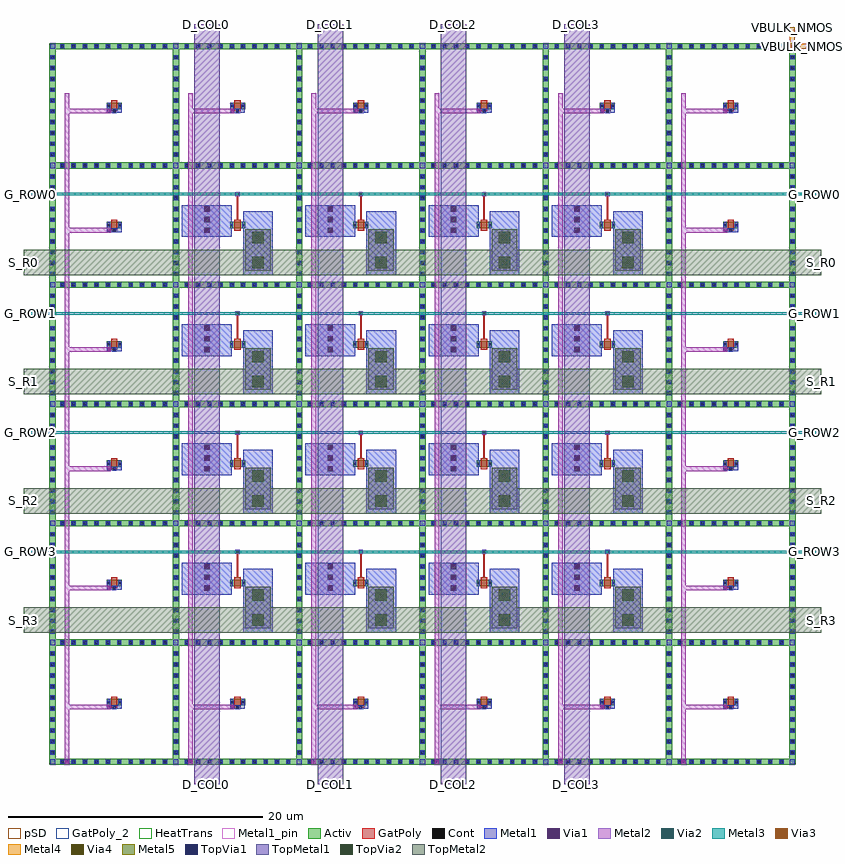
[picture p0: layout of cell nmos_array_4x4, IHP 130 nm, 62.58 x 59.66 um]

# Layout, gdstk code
import gdstk
lib = gdstk.Library(unit=1e-6, precision=1e-09)
def R(c, l, rs):  # rectangles x0, y0, x1, y1
    for r in rs: c.add(gdstk.rectangle(r[:2], r[2:], *l))
def A(c, l, x, y, w, h, nx, ny, dx, dy):  # array of equal rectangles
    R(c, l, [(x+i*dx, y+j*dy, x+i*dx+w, y+j*dy+h) for i in range(nx) for j in range(ny)])
Activ = (1, 0)
GatPoly = (5, 0)
GatPoly_2 = (5, 2)
Cont = (6, 0)
Metal1 = (8, 0)
Metal1_pin = (8, 2)
Metal2 = (10, 0)
pSD = (14, 0)
Via1 = (19, 0)
Via2 = (29, 0)
Metal3 = (30, 0)
Via3 = (49, 0)
Metal4 = (50, 0)
HeatTrans = (51, 0)
Via4 = (66, 0)
Metal5 = (67, 0)
TopVia1 = (125, 0)
TopMetal1 = (126, 0)
TopVia2 = (133, 0)
TopMetal2 = (134, 0)

nmos = lib.new_cell('nmos')
R(nmos, Activ, [(0,0,0.3,0.3), (0,0,1.18,0.5), (0.88,0,1.18,0.3)])
R(nmos, GatPoly, [(0.34,-0.18,0.84,0.68)])
R(nmos, GatPoly_2, [(0.34,-0.18,0.84,0.68)])
R(nmos, Cont, [(0.07,0.17,0.23,0.33), (0.95,0.17,1.11,0.33)])
R(nmos, Metal1, [(0.07,0,0.23,0.5), (0.95,0,1.11,0.5)])
R(nmos, Metal1_pin, [(0.07,0,0.23,0.5), (0.95,0,1.11,0.5)])
R(nmos, HeatTrans, [(0.34,-0.18,0.84,0.68)])
nmos.add(gdstk.Label('nmos', (0.59,0.25), layer=63, texttype=0))
nmos.add(gdstk.Label('nmos', (0.59,0.25), layer=51, texttype=0))

nmos_array_4x4 = lib.new_cell('nmos_array_4x4')
A(nmos_array_4x4, Activ, 0, 0, 0.5, 56.66, 7, 1, 9.68, 0)
A(nmos_array_4x4, Activ, 0, 0, 58.58, 0.5, 1, 7, 0, 9.36)
A(nmos_array_4x4, GatPoly, 5.025, 4.53, 0.13, 0.2, 6, 2, 9.68, 46.8)
A(nmos_array_4x4, GatPoly, 5.025, 13.89, 0.13, 0.2, 1, 4, 0, 9.36)
A(nmos_array_4x4, GatPoly, 53.425, 13.89, 0.13, 0.2, 1, 4, 0, 9.36)
A(nmos_array_4x4, GatPoly, 14.705, 14.72, 0.13, 2, 4, 4, 9.68, 9.36)
A(nmos_array_4x4, Cont, 0.896, 0.14, 0.22, 0.22, 10, 7, 0.896, 9.36)
A(nmos_array_4x4, Cont, 10.68, 0.14, 0.22, 0.22, 3, 7, 0.884, 9.36)
A(nmos_array_4x4, Cont, 13.333, 0.14, 0.22, 0.22, 1, 7, 0, 9.36)
A(nmos_array_4x4, Cont, 14.217, 0.14, 0.22, 0.22, 1, 7, 0, 9.36)
A(nmos_array_4x4, Cont, 15.102, 0.14, 0.22, 0.22, 1, 7, 0, 9.36)
A(nmos_array_4x4, Cont, 15.986, 0.14, 0.22, 0.22, 1, 7, 0, 9.36)
A(nmos_array_4x4, Cont, 16.871, 0.14, 0.22, 0.22, 1, 7, 0, 9.36)
A(nmos_array_4x4, Cont, 17.755, 0.14, 0.22, 0.22, 1, 7, 0, 9.36)
A(nmos_array_4x4, Cont, 18.64, 0.14, 0.22, 0.22, 1, 7, 0, 9.36)
A(nmos_array_4x4, Cont, 20.36, 0.14, 0.22, 0.22, 3, 7, 0.884, 9.36)
A(nmos_array_4x4, Cont, 23.013, 0.14, 0.22, 0.22, 1, 7, 0, 9.36)
A(nmos_array_4x4, Cont, 23.897, 0.14, 0.22, 0.22, 1, 7, 0, 9.36)
A(nmos_array_4x4, Cont, 24.782, 0.14, 0.22, 0.22, 1, 7, 0, 9.36)
A(nmos_array_4x4, Cont, 25.666, 0.14, 0.22, 0.22, 1, 7, 0, 9.36)
A(nmos_array_4x4, Cont, 26.551, 0.14, 0.22, 0.22, 1, 7, 0, 9.36)
A(nmos_array_4x4, Cont, 27.435, 0.14, 0.22, 0.22, 1, 7, 0, 9.36)
A(nmos_array_4x4, Cont, 28.32, 0.14, 0.22, 0.22, 1, 7, 0, 9.36)
A(nmos_array_4x4, Cont, 30.04, 0.14, 0.22, 0.22, 3, 7, 0.884, 9.36)
A(nmos_array_4x4, Cont, 32.693, 0.14, 0.22, 0.22, 1, 7, 0, 9.36)
A(nmos_array_4x4, Cont, 33.577, 0.14, 0.22, 0.22, 1, 7, 0, 9.36)
A(nmos_array_4x4, Cont, 34.462, 0.14, 0.22, 0.22, 1, 7, 0, 9.36)
A(nmos_array_4x4, Cont, 35.346, 0.14, 0.22, 0.22, 1, 7, 0, 9.36)
A(nmos_array_4x4, Cont, 36.231, 0.14, 0.22, 0.22, 1, 7, 0, 9.36)
A(nmos_array_4x4, Cont, 37.115, 0.14, 0.22, 0.22, 1, 7, 0, 9.36)
A(nmos_array_4x4, Cont, 38, 0.14, 0.22, 0.22, 1, 7, 0, 9.36)
A(nmos_array_4x4, Cont, 39.72, 0.14, 0.22, 0.22, 3, 7, 0.884, 9.36)
A(nmos_array_4x4, Cont, 42.373, 0.14, 0.22, 0.22, 1, 7, 0, 9.36)
A(nmos_array_4x4, Cont, 43.257, 0.14, 0.22, 0.22, 1, 7, 0, 9.36)
A(nmos_array_4x4, Cont, 44.142, 0.14, 0.22, 0.22, 1, 7, 0, 9.36)
A(nmos_array_4x4, Cont, 45.026, 0.14, 0.22, 0.22, 1, 7, 0, 9.36)
A(nmos_array_4x4, Cont, 45.911, 0.14, 0.22, 0.22, 1, 7, 0, 9.36)
A(nmos_array_4x4, Cont, 46.795, 0.14, 0.22, 0.22, 1, 7, 0, 9.36)
A(nmos_array_4x4, Cont, 47.68, 0.14, 0.22, 0.22, 1, 7, 0, 9.36)
A(nmos_array_4x4, Cont, 49.4, 0.14, 0.22, 0.22, 3, 7, 0.884, 9.36)
A(nmos_array_4x4, Cont, 52.053, 0.14, 0.22, 0.22, 1, 7, 0, 9.36)
A(nmos_array_4x4, Cont, 52.937, 0.14, 0.22, 0.22, 1, 7, 0, 9.36)
A(nmos_array_4x4, Cont, 53.822, 0.14, 0.22, 0.22, 1, 7, 0, 9.36)
A(nmos_array_4x4, Cont, 54.706, 0.14, 0.22, 0.22, 1, 7, 0, 9.36)
A(nmos_array_4x4, Cont, 55.591, 0.14, 0.22, 0.22, 1, 7, 0, 9.36)
A(nmos_array_4x4, Cont, 56.475, 0.14, 0.22, 0.22, 1, 7, 0, 9.36)
A(nmos_array_4x4, Cont, 57.36, 0.14, 0.22, 0.22, 1, 7, 0, 9.36)
A(nmos_array_4x4, Cont, 0.14, 0.864, 0.22, 0.22, 7, 10, 9.68, 0.864)
A(nmos_array_4x4, Cont, 4.98, 4.42, 0.22, 0.22, 6, 2, 9.68, 46.8)
A(nmos_array_4x4, Cont, 0.14, 10.36, 0.22, 0.22, 7, 2, 9.68, 0.848)
A(nmos_array_4x4, Cont, 0.14, 12.057, 0.22, 0.22, 7, 8, 9.68, 0.849)
A(nmos_array_4x4, Cont, 4.98, 13.78, 0.22, 0.22, 1, 4, 0, 9.36)
A(nmos_array_4x4, Cont, 53.38, 13.78, 0.22, 0.22, 1, 4, 0, 9.36)
A(nmos_array_4x4, Cont, 14.66, 16.61, 0.22, 0.22, 4, 4, 9.68, 9.36)
A(nmos_array_4x4, Cont, 0.14, 19.72, 0.22, 0.22, 7, 2, 9.68, 0.848)
A(nmos_array_4x4, Cont, 0.14, 21.417, 0.22, 0.22, 7, 8, 9.68, 0.849)
A(nmos_array_4x4, Cont, 0.14, 29.08, 0.22, 0.22, 7, 2, 9.68, 0.848)
A(nmos_array_4x4, Cont, 0.14, 30.777, 0.22, 0.22, 7, 8, 9.68, 0.849)
A(nmos_array_4x4, Cont, 0.14, 38.44, 0.22, 0.22, 7, 2, 9.68, 0.848)
A(nmos_array_4x4, Cont, 0.14, 40.137, 0.22, 0.22, 7, 8, 9.68, 0.849)
A(nmos_array_4x4, Cont, 0.14, 47.8, 0.22, 0.22, 7, 2, 9.68, 0.848)
A(nmos_array_4x4, Cont, 0.14, 49.497, 0.22, 0.22, 7, 8, 9.68, 0.849)
A(nmos_array_4x4, Metal1, 0.836, 0.08, 0.34, 0.34, 10, 7, 0.896, 9.36)
A(nmos_array_4x4, Metal1, 10.62, 0.08, 0.34, 0.34, 3, 7, 0.884, 9.36)
A(nmos_array_4x4, Metal1, 13.273, 0.08, 0.34, 0.34, 1, 7, 0, 9.36)
A(nmos_array_4x4, Metal1, 14.157, 0.08, 0.34, 0.34, 1, 7, 0, 9.36)
A(nmos_array_4x4, Metal1, 15.042, 0.08, 0.34, 0.34, 1, 7, 0, 9.36)
A(nmos_array_4x4, Metal1, 15.926, 0.08, 0.34, 0.34, 1, 7, 0, 9.36)
A(nmos_array_4x4, Metal1, 16.811, 0.08, 0.34, 0.34, 1, 7, 0, 9.36)
A(nmos_array_4x4, Metal1, 17.695, 0.08, 0.34, 0.34, 1, 7, 0, 9.36)
A(nmos_array_4x4, Metal1, 18.58, 0.08, 0.34, 0.34, 1, 7, 0, 9.36)
A(nmos_array_4x4, Metal1, 20.3, 0.08, 0.34, 0.34, 3, 7, 0.884, 9.36)
A(nmos_array_4x4, Metal1, 22.953, 0.08, 0.34, 0.34, 1, 7, 0, 9.36)
A(nmos_array_4x4, Metal1, 23.837, 0.08, 0.34, 0.34, 1, 7, 0, 9.36)
A(nmos_array_4x4, Metal1, 24.722, 0.08, 0.34, 0.34, 1, 7, 0, 9.36)
A(nmos_array_4x4, Metal1, 25.606, 0.08, 0.34, 0.34, 1, 7, 0, 9.36)
A(nmos_array_4x4, Metal1, 26.491, 0.08, 0.34, 0.34, 1, 7, 0, 9.36)
A(nmos_array_4x4, Metal1, 27.375, 0.08, 0.34, 0.34, 1, 7, 0, 9.36)
A(nmos_array_4x4, Metal1, 28.26, 0.08, 0.34, 0.34, 1, 7, 0, 9.36)
A(nmos_array_4x4, Metal1, 29.98, 0.08, 0.34, 0.34, 3, 7, 0.884, 9.36)
A(nmos_array_4x4, Metal1, 32.633, 0.08, 0.34, 0.34, 1, 7, 0, 9.36)
A(nmos_array_4x4, Metal1, 33.517, 0.08, 0.34, 0.34, 1, 7, 0, 9.36)
A(nmos_array_4x4, Metal1, 34.402, 0.08, 0.34, 0.34, 1, 7, 0, 9.36)
A(nmos_array_4x4, Metal1, 35.286, 0.08, 0.34, 0.34, 1, 7, 0, 9.36)
A(nmos_array_4x4, Metal1, 36.171, 0.08, 0.34, 0.34, 1, 7, 0, 9.36)
A(nmos_array_4x4, Metal1, 37.055, 0.08, 0.34, 0.34, 1, 7, 0, 9.36)
A(nmos_array_4x4, Metal1, 37.94, 0.08, 0.34, 0.34, 1, 7, 0, 9.36)
A(nmos_array_4x4, Metal1, 39.66, 0.08, 0.34, 0.34, 3, 7, 0.884, 9.36)
A(nmos_array_4x4, Metal1, 42.313, 0.08, 0.34, 0.34, 1, 7, 0, 9.36)
A(nmos_array_4x4, Metal1, 43.197, 0.08, 0.34, 0.34, 1, 7, 0, 9.36)
A(nmos_array_4x4, Metal1, 44.082, 0.08, 0.34, 0.34, 1, 7, 0, 9.36)
A(nmos_array_4x4, Metal1, 44.966, 0.08, 0.34, 0.34, 1, 7, 0, 9.36)
A(nmos_array_4x4, Metal1, 45.851, 0.08, 0.34, 0.34, 1, 7, 0, 9.36)
A(nmos_array_4x4, Metal1, 46.735, 0.08, 0.34, 0.34, 1, 7, 0, 9.36)
A(nmos_array_4x4, Metal1, 47.62, 0.08, 0.34, 0.34, 1, 7, 0, 9.36)
A(nmos_array_4x4, Metal1, 49.34, 0.08, 0.34, 0.34, 3, 7, 0.884, 9.36)
A(nmos_array_4x4, Metal1, 51.993, 0.08, 0.34, 0.34, 1, 7, 0, 9.36)
A(nmos_array_4x4, Metal1, 52.877, 0.08, 0.34, 0.34, 1, 7, 0, 9.36)
A(nmos_array_4x4, Metal1, 53.762, 0.08, 0.34, 0.34, 1, 7, 0, 9.36)
A(nmos_array_4x4, Metal1, 54.646, 0.08, 0.34, 0.34, 1, 7, 0, 9.36)
A(nmos_array_4x4, Metal1, 55.531, 0.08, 0.34, 0.34, 1, 7, 0, 9.36)
A(nmos_array_4x4, Metal1, 56.415, 0.08, 0.34, 0.34, 1, 7, 0, 9.36)
A(nmos_array_4x4, Metal1, 57.3, 0.08, 0.34, 0.34, 1, 7, 0, 9.36)
A(nmos_array_4x4, Metal1, 0.08, 0.804, 0.34, 0.34, 7, 10, 9.68, 0.864)
A(nmos_array_4x4, Metal1, 4.92, 4.36, 0.34, 0.34, 6, 2, 9.68, 46.8)
A(nmos_array_4x4, Metal1, 4.51, 4.39, 0.28, 0.68, 1, 6, 0, 9.36)
A(nmos_array_4x4, Metal1, 4.51, 4.39, 1.16, 0.28, 6, 2, 9.68, 46.8)
A(nmos_array_4x4, Metal1, 5.39, 4.39, 0.28, 0.68, 1, 6, 0, 9.36)
A(nmos_array_4x4, Metal1, 52.91, 4.39, 0.28, 0.68, 1, 6, 0, 9.36)
A(nmos_array_4x4, Metal1, 53.79, 4.39, 0.28, 0.68, 1, 6, 0, 9.36)
A(nmos_array_4x4, Metal1, 0.05, 9.41, 0.4, 0.4, 7, 6, 9.68, 9.36)
A(nmos_array_4x4, Metal1, 0.08, 10.3, 0.34, 0.34, 7, 2, 9.68, 0.848)
A(nmos_array_4x4, Metal1, 15.21, 10.36, 2.32, 5.02, 4, 4, 9.68, 9.36)
A(nmos_array_4x4, Metal1, 0.08, 11.997, 0.34, 0.34, 7, 8, 9.68, 0.849)
A(nmos_array_4x4, Metal1, 10.41, 13.371, 3.92, 2.499, 4, 4, 9.68, 9.36)
A(nmos_array_4x4, Metal1, 4.92, 13.72, 0.34, 0.34, 1, 4, 0, 9.36)
A(nmos_array_4x4, Metal1, 53.32, 13.72, 0.34, 0.34, 1, 4, 0, 9.36)
A(nmos_array_4x4, Metal1, 4.51, 13.75, 1.16, 0.28, 1, 4, 0, 9.36)
A(nmos_array_4x4, Metal1, 52.91, 13.75, 1.16, 0.28, 1, 4, 0, 9.36)
A(nmos_array_4x4, Metal1, 14.61, 16.56, 0.32, 0.32, 4, 4, 9.68, 9.36)
A(nmos_array_4x4, Metal1, 0.08, 19.66, 0.34, 0.34, 7, 2, 9.68, 0.848)
A(nmos_array_4x4, Metal1, 0.08, 21.357, 0.34, 0.34, 7, 8, 9.68, 0.849)
A(nmos_array_4x4, Metal1, 0.08, 29.02, 0.34, 0.34, 7, 2, 9.68, 0.848)
A(nmos_array_4x4, Metal1, 0.08, 30.717, 0.34, 0.34, 7, 8, 9.68, 0.849)
A(nmos_array_4x4, Metal1, 0.08, 38.38, 0.34, 0.34, 7, 2, 9.68, 0.848)
A(nmos_array_4x4, Metal1, 0.08, 40.077, 0.34, 0.34, 7, 8, 9.68, 0.849)
A(nmos_array_4x4, Metal1, 0.08, 47.74, 0.34, 0.34, 7, 2, 9.68, 0.848)
A(nmos_array_4x4, Metal1, 0.08, 49.437, 0.34, 0.34, 7, 8, 9.68, 0.849)
R(nmos_array_4x4, Metal1, [(0.05,0.05,0.45,0.45), (1.19,0.05,1.59,0.45), (9.73,0.05,10.13,0.45), (10.87,0.05,11.27,0.45), (19.41,0.05,19.81,0.45), (20.55,0.05,20.95,0.45), (29.09,0.05,29.49,0.45), (30.23,0.05,30.63,0.45), (38.77,0.05,39.17,0.45), (39.91,0.05,40.31,0.45), (48.45,0.05,48.85,0.45), (49.59,0.05,49.99,0.45), (58.13,0.05,58.53,0.45), (14.19,4.39,14.47,5.07), (15.07,4.39,15.35,5.07), (23.87,4.39,24.15,5.07), (24.75,4.39,25.03,5.07), (33.55,4.39,33.83,5.07), (34.43,4.39,34.71,5.07), (43.23,4.39,43.51,5.07), (44.11,4.39,44.39,5.07), (14.19,51.19,14.47,51.87), (15.07,51.19,15.35,51.87), (23.87,51.19,24.15,51.87), (24.75,51.19,25.03,51.87), (33.55,51.19,33.83,51.87), (34.43,51.19,34.71,51.87), (43.23,51.19,43.51,51.87), (44.11,51.19,44.39,51.87)])
A(nmos_array_4x4, Metal2, 1.21, 0.07, 0.36, 52.66, 6, 1, 9.68, 0)
A(nmos_array_4x4, Metal2, 1.21, 4.35, 3.62, 0.36, 6, 2, 9.68, 46.8)
A(nmos_array_4x4, Metal2, 16.215, 11.205, 0.31, 0.31, 4, 2, 9.68, 1.96)
A(nmos_array_4x4, Metal2, 1.21, 13.71, 3.62, 0.36, 1, 4, 0, 9.36)
A(nmos_array_4x4, Metal2, 49.61, 13.71, 3.62, 0.36, 1, 4, 0, 9.36)
A(nmos_array_4x4, Metal2, 12.215, 13.735, 0.31, 0.31, 4, 3, 9.68, 0.84)
A(nmos_array_4x4, Metal2, 14.625, 16.575, 0.29, 0.29, 4, 4, 9.68, 9.36)
A(nmos_array_4x4, Metal2, 16.215, 20.565, 0.31, 0.31, 4, 2, 9.68, 1.96)
A(nmos_array_4x4, Metal2, 12.215, 23.095, 0.31, 0.31, 4, 3, 9.68, 0.84)
A(nmos_array_4x4, Metal2, 16.215, 29.925, 0.31, 0.31, 4, 2, 9.68, 1.96)
A(nmos_array_4x4, Metal2, 12.215, 32.455, 0.31, 0.31, 4, 3, 9.68, 0.84)
A(nmos_array_4x4, Metal2, 16.215, 39.285, 0.31, 0.31, 4, 2, 9.68, 1.96)
A(nmos_array_4x4, Metal2, 12.215, 41.815, 0.31, 0.31, 4, 3, 9.68, 0.84)
R(nmos_array_4x4, Metal2, [(58.15,56.23,58.51,56.59)])
A(nmos_array_4x4, pSD, 0, 0, 0.5, 56.66, 7, 1, 9.68, 0)
A(nmos_array_4x4, pSD, 0, 0, 58.58, 0.5, 1, 7, 0, 9.36)
A(nmos_array_4x4, Via1, 1.295, 0.155, 0.19, 0.19, 6, 1, 9.68, 0)
A(nmos_array_4x4, Via1, 4.555, 4.435, 0.19, 0.19, 6, 2, 9.68, 46.8)
A(nmos_array_4x4, Via1, 16.275, 11.265, 0.19, 0.19, 4, 2, 9.68, 1.96)
A(nmos_array_4x4, Via1, 4.555, 13.795, 0.19, 0.19, 1, 4, 0, 9.36)
A(nmos_array_4x4, Via1, 12.275, 13.795, 0.19, 0.19, 4, 3, 9.68, 0.84)
A(nmos_array_4x4, Via1, 52.955, 13.795, 0.19, 0.19, 1, 4, 0, 9.36)
A(nmos_array_4x4, Via1, 14.675, 16.625, 0.19, 0.19, 4, 4, 9.68, 9.36)
A(nmos_array_4x4, Via1, 16.275, 20.625, 0.19, 0.19, 4, 2, 9.68, 1.96)
A(nmos_array_4x4, Via1, 12.275, 23.155, 0.19, 0.19, 4, 3, 9.68, 0.84)
A(nmos_array_4x4, Via1, 16.275, 29.985, 0.19, 0.19, 4, 2, 9.68, 1.96)
A(nmos_array_4x4, Via1, 12.275, 32.515, 0.19, 0.19, 4, 3, 9.68, 0.84)
A(nmos_array_4x4, Via1, 16.275, 39.345, 0.19, 0.19, 4, 2, 9.68, 1.96)
A(nmos_array_4x4, Via1, 12.275, 41.875, 0.19, 0.19, 4, 3, 9.68, 0.84)
R(nmos_array_4x4, Via1, [(58.235,56.315,58.425,56.505)])
A(nmos_array_4x4, Via2, 16.275, 11.265, 0.19, 0.19, 4, 2, 9.68, 1.96)
A(nmos_array_4x4, Via2, 12.275, 13.795, 0.19, 0.19, 4, 3, 9.68, 0.84)
A(nmos_array_4x4, Via2, 14.675, 16.625, 0.19, 0.19, 4, 4, 9.68, 9.36)
A(nmos_array_4x4, Via2, 16.275, 20.625, 0.19, 0.19, 4, 2, 9.68, 1.96)
A(nmos_array_4x4, Via2, 12.275, 23.155, 0.19, 0.19, 4, 3, 9.68, 0.84)
A(nmos_array_4x4, Via2, 16.275, 29.985, 0.19, 0.19, 4, 2, 9.68, 1.96)
A(nmos_array_4x4, Via2, 12.275, 32.515, 0.19, 0.19, 4, 3, 9.68, 0.84)
A(nmos_array_4x4, Via2, 16.275, 39.345, 0.19, 0.19, 4, 2, 9.68, 1.96)
A(nmos_array_4x4, Via2, 12.275, 41.875, 0.19, 0.19, 4, 3, 9.68, 0.84)
R(nmos_array_4x4, Via2, [(58.235,56.315,58.425,56.505)])
A(nmos_array_4x4, Metal3, 16.215, 11.205, 0.31, 0.31, 4, 2, 9.68, 1.96)
A(nmos_array_4x4, Metal3, 12.215, 13.735, 0.31, 0.31, 4, 3, 9.68, 0.84)
A(nmos_array_4x4, Metal3, -1.6, 16.62, 61.78, 0.2, 1, 4, 0, 9.36)
A(nmos_array_4x4, Metal3, 14.67, 16.62, 0.2, 0.2, 4, 4, 9.68, 9.36)
A(nmos_array_4x4, Metal3, 16.215, 20.565, 0.31, 0.31, 4, 2, 9.68, 1.96)
A(nmos_array_4x4, Metal3, 12.215, 23.095, 0.31, 0.31, 4, 3, 9.68, 0.84)
A(nmos_array_4x4, Metal3, 16.215, 29.925, 0.31, 0.31, 4, 2, 9.68, 1.96)
A(nmos_array_4x4, Metal3, 12.215, 32.455, 0.31, 0.31, 4, 3, 9.68, 0.84)
A(nmos_array_4x4, Metal3, 16.215, 39.285, 0.31, 0.31, 4, 2, 9.68, 1.96)
A(nmos_array_4x4, Metal3, 12.215, 41.815, 0.31, 0.31, 4, 3, 9.68, 0.84)
R(nmos_array_4x4, Metal3, [(58.23,56.31,58.43,56.51)])
A(nmos_array_4x4, Via3, 16.275, 11.265, 0.19, 0.19, 4, 2, 9.68, 1.96)
A(nmos_array_4x4, Via3, 12.275, 13.795, 0.19, 0.19, 4, 3, 9.68, 0.84)
A(nmos_array_4x4, Via3, 16.275, 20.625, 0.19, 0.19, 4, 2, 9.68, 1.96)
A(nmos_array_4x4, Via3, 12.275, 23.155, 0.19, 0.19, 4, 3, 9.68, 0.84)
A(nmos_array_4x4, Via3, 16.275, 29.985, 0.19, 0.19, 4, 2, 9.68, 1.96)
A(nmos_array_4x4, Via3, 12.275, 32.515, 0.19, 0.19, 4, 3, 9.68, 0.84)
A(nmos_array_4x4, Via3, 16.275, 39.345, 0.19, 0.19, 4, 2, 9.68, 1.96)
A(nmos_array_4x4, Via3, 12.275, 41.875, 0.19, 0.19, 4, 3, 9.68, 0.84)
R(nmos_array_4x4, Via3, [(58.235,56.315,58.425,56.505)])
A(nmos_array_4x4, Metal4, 16.215, 11.205, 0.31, 0.31, 4, 2, 9.68, 1.96)
A(nmos_array_4x4, Metal4, 12.215, 13.735, 0.31, 0.31, 4, 3, 9.68, 0.84)
A(nmos_array_4x4, Metal4, 16.215, 20.565, 0.31, 0.31, 4, 2, 9.68, 1.96)
A(nmos_array_4x4, Metal4, 12.215, 23.095, 0.31, 0.31, 4, 3, 9.68, 0.84)
A(nmos_array_4x4, Metal4, 16.215, 29.925, 0.31, 0.31, 4, 2, 9.68, 1.96)
A(nmos_array_4x4, Metal4, 12.215, 32.455, 0.31, 0.31, 4, 3, 9.68, 0.84)
A(nmos_array_4x4, Metal4, 16.215, 39.285, 0.31, 0.31, 4, 2, 9.68, 1.96)
A(nmos_array_4x4, Metal4, 12.215, 41.815, 0.31, 0.31, 4, 3, 9.68, 0.84)
R(nmos_array_4x4, Metal4, [(58.13,56.21,59.83,56.61), (58.13,56.21,58.53,57.91)])
A(nmos_array_4x4, Via4, 16.275, 11.265, 0.19, 0.19, 4, 2, 9.68, 1.96)
A(nmos_array_4x4, Via4, 12.275, 13.795, 0.19, 0.19, 4, 3, 9.68, 0.84)
A(nmos_array_4x4, Via4, 16.275, 20.625, 0.19, 0.19, 4, 2, 9.68, 1.96)
A(nmos_array_4x4, Via4, 12.275, 23.155, 0.19, 0.19, 4, 3, 9.68, 0.84)
A(nmos_array_4x4, Via4, 16.275, 29.985, 0.19, 0.19, 4, 2, 9.68, 1.96)
A(nmos_array_4x4, Via4, 12.275, 32.515, 0.19, 0.19, 4, 3, 9.68, 0.84)
A(nmos_array_4x4, Via4, 16.275, 39.345, 0.19, 0.19, 4, 2, 9.68, 1.96)
A(nmos_array_4x4, Via4, 12.275, 41.875, 0.19, 0.19, 4, 3, 9.68, 0.84)
A(nmos_array_4x4, Metal5, 16.215, 11.205, 0.31, 0.31, 4, 2, 9.68, 1.96)
A(nmos_array_4x4, Metal5, 12.215, 13.735, 0.31, 0.31, 4, 3, 9.68, 0.84)
A(nmos_array_4x4, Metal5, 16.215, 20.565, 0.31, 0.31, 4, 2, 9.68, 1.96)
A(nmos_array_4x4, Metal5, 12.215, 23.095, 0.31, 0.31, 4, 3, 9.68, 0.84)
A(nmos_array_4x4, Metal5, 16.215, 29.925, 0.31, 0.31, 4, 2, 9.68, 1.96)
A(nmos_array_4x4, Metal5, 12.215, 32.455, 0.31, 0.31, 4, 3, 9.68, 0.84)
A(nmos_array_4x4, Metal5, 16.215, 39.285, 0.31, 0.31, 4, 2, 9.68, 1.96)
A(nmos_array_4x4, Metal5, 12.215, 41.815, 0.31, 0.31, 4, 3, 9.68, 0.84)
A(nmos_array_4x4, TopVia1, 16.16, 11.15, 0.42, 0.42, 4, 2, 9.68, 1.96)
A(nmos_array_4x4, TopVia1, 12.16, 13.68, 0.42, 0.42, 4, 3, 9.68, 0.84)
A(nmos_array_4x4, TopVia1, 16.16, 20.51, 0.42, 0.42, 4, 2, 9.68, 1.96)
A(nmos_array_4x4, TopVia1, 12.16, 23.04, 0.42, 0.42, 4, 3, 9.68, 0.84)
A(nmos_array_4x4, TopVia1, 16.16, 29.87, 0.42, 0.42, 4, 2, 9.68, 1.96)
A(nmos_array_4x4, TopVia1, 12.16, 32.4, 0.42, 0.42, 4, 3, 9.68, 0.84)
A(nmos_array_4x4, TopVia1, 16.16, 39.23, 0.42, 0.42, 4, 2, 9.68, 1.96)
A(nmos_array_4x4, TopVia1, 12.16, 41.76, 0.42, 0.42, 4, 3, 9.68, 0.84)
A(nmos_array_4x4, TopMetal1, 11.37, -1.5, 2, 59.66, 4, 1, 9.68, 0)
A(nmos_array_4x4, TopMetal1, 15.37, 10.71, 2, 3.26, 4, 4, 9.68, 9.36)
A(nmos_array_4x4, TopMetal1, 11.37, 13.58, 2, 2.3, 4, 4, 9.68, 9.36)
A(nmos_array_4x4, TopVia2, 15.92, 10.91, 0.9, 0.9, 4, 2, 9.68, 1.96)
A(nmos_array_4x4, TopVia2, 15.92, 20.27, 0.9, 0.9, 4, 2, 9.68, 1.96)
A(nmos_array_4x4, TopVia2, 15.92, 29.63, 0.9, 0.9, 4, 2, 9.68, 1.96)
A(nmos_array_4x4, TopVia2, 15.92, 38.99, 0.9, 0.9, 4, 2, 9.68, 1.96)
A(nmos_array_4x4, TopMetal2, -2, 10.36, 62.58, 2, 1, 4, 0, 9.36)
A(nmos_array_4x4, TopMetal2, 15.37, 10.71, 2, 3.26, 4, 4, 9.68, 9.36)
nmos_array_4x4.add(gdstk.Reference(nmos, (4.5,4.68)))
nmos_array_4x4.add(gdstk.Reference(nmos, (14.18,4.68)))
nmos_array_4x4.add(gdstk.Reference(nmos, (23.86,4.68)))
nmos_array_4x4.add(gdstk.Reference(nmos, (33.54,4.68)))
nmos_array_4x4.add(gdstk.Reference(nmos, (43.22,4.68)))
nmos_array_4x4.add(gdstk.Reference(nmos, (52.9,4.68)))
nmos_array_4x4.add(gdstk.Reference(nmos, (4.5,14.04)))
nmos_array_4x4.add(gdstk.Reference(nmos, (14.18,14.04)))
nmos_array_4x4.add(gdstk.Reference(nmos, (23.86,14.04)))
nmos_array_4x4.add(gdstk.Reference(nmos, (33.54,14.04)))
nmos_array_4x4.add(gdstk.Reference(nmos, (43.22,14.04)))
nmos_array_4x4.add(gdstk.Reference(nmos, (52.9,14.04)))
nmos_array_4x4.add(gdstk.Reference(nmos, (4.5,23.4)))
nmos_array_4x4.add(gdstk.Reference(nmos, (14.18,23.4)))
nmos_array_4x4.add(gdstk.Reference(nmos, (23.86,23.4)))
nmos_array_4x4.add(gdstk.Reference(nmos, (33.54,23.4)))
nmos_array_4x4.add(gdstk.Reference(nmos, (43.22,23.4)))
nmos_array_4x4.add(gdstk.Reference(nmos, (52.9,23.4)))
nmos_array_4x4.add(gdstk.Reference(nmos, (4.5,32.76)))
nmos_array_4x4.add(gdstk.Reference(nmos, (14.18,32.76)))
nmos_array_4x4.add(gdstk.Reference(nmos, (23.86,32.76)))
nmos_array_4x4.add(gdstk.Reference(nmos, (33.54,32.76)))
nmos_array_4x4.add(gdstk.Reference(nmos, (43.22,32.76)))
nmos_array_4x4.add(gdstk.Reference(nmos, (52.9,32.76)))
nmos_array_4x4.add(gdstk.Reference(nmos, (4.5,42.12)))
nmos_array_4x4.add(gdstk.Reference(nmos, (14.18,42.12)))
nmos_array_4x4.add(gdstk.Reference(nmos, (23.86,42.12)))
nmos_array_4x4.add(gdstk.Reference(nmos, (33.54,42.12)))
nmos_array_4x4.add(gdstk.Reference(nmos, (43.22,42.12)))
nmos_array_4x4.add(gdstk.Reference(nmos, (52.9,42.12)))
nmos_array_4x4.add(gdstk.Reference(nmos, (4.5,51.48)))
nmos_array_4x4.add(gdstk.Reference(nmos, (14.18,51.48)))
nmos_array_4x4.add(gdstk.Reference(nmos, (23.86,51.48)))
nmos_array_4x4.add(gdstk.Reference(nmos, (33.54,51.48)))
nmos_array_4x4.add(gdstk.Reference(nmos, (43.22,51.48)))
nmos_array_4x4.add(gdstk.Reference(nmos, (52.9,51.48)))
nmos_array_4x4.add(gdstk.Label('VBULK_NMOS', (59.83,56.41), layer=63, texttype=0))
nmos_array_4x4.add(gdstk.Label('VBULK_NMOS', (58.33,57.91), layer=63, texttype=0))
nmos_array_4x4.add(gdstk.Label('G_ROW3', (-1.5,16.72), layer=63, texttype=0))
nmos_array_4x4.add(gdstk.Label('G_ROW3', (60.08,16.72), layer=63, texttype=0))
nmos_array_4x4.add(gdstk.Label('G_ROW2', (-1.5,26.08), layer=63, texttype=0))
nmos_array_4x4.add(gdstk.Label('G_ROW2', (60.08,26.08), layer=63, texttype=0))
nmos_array_4x4.add(gdstk.Label('G_ROW1', (-1.5,35.44), layer=63, texttype=0))
nmos_array_4x4.add(gdstk.Label('G_ROW1', (60.08,35.44), layer=63, texttype=0))
nmos_array_4x4.add(gdstk.Label('G_ROW0', (-1.5,44.8), layer=63, texttype=0))
nmos_array_4x4.add(gdstk.Label('G_ROW0', (60.08,44.8), layer=63, texttype=0))
nmos_array_4x4.add(gdstk.Label('D_COL0', (12.37,-1.5), layer=63, texttype=0))
nmos_array_4x4.add(gdstk.Label('D_COL0', (12.37,58.16), layer=63, texttype=0))
nmos_array_4x4.add(gdstk.Label('D_COL1', (22.05,-1.5), layer=63, texttype=0))
nmos_array_4x4.add(gdstk.Label('D_COL1', (22.05,58.16), layer=63, texttype=0))
nmos_array_4x4.add(gdstk.Label('D_COL2', (31.73,-1.5), layer=63, texttype=0))
nmos_array_4x4.add(gdstk.Label('D_COL2', (31.73,58.16), layer=63, texttype=0))
nmos_array_4x4.add(gdstk.Label('D_COL3', (41.41,-1.5), layer=63, texttype=0))
nmos_array_4x4.add(gdstk.Label('D_COL3', (41.41,58.16), layer=63, texttype=0))
nmos_array_4x4.add(gdstk.Label('S_R3', (-2,11.36), layer=63, texttype=0))
nmos_array_4x4.add(gdstk.Label('S_R3', (60.58,11.36), layer=63, texttype=0))
nmos_array_4x4.add(gdstk.Label('S_R2', (-2,20.72), layer=63, texttype=0))
nmos_array_4x4.add(gdstk.Label('S_R2', (60.58,20.72), layer=63, texttype=0))
nmos_array_4x4.add(gdstk.Label('S_R1', (-2,30.08), layer=63, texttype=0))
nmos_array_4x4.add(gdstk.Label('S_R1', (60.58,30.08), layer=63, texttype=0))
nmos_array_4x4.add(gdstk.Label('S_R0', (-2,39.44), layer=63, texttype=0))
nmos_array_4x4.add(gdstk.Label('S_R0', (60.58,39.44), layer=63, texttype=0))

lib.write_gds('nmos_array_4x4.gds')
